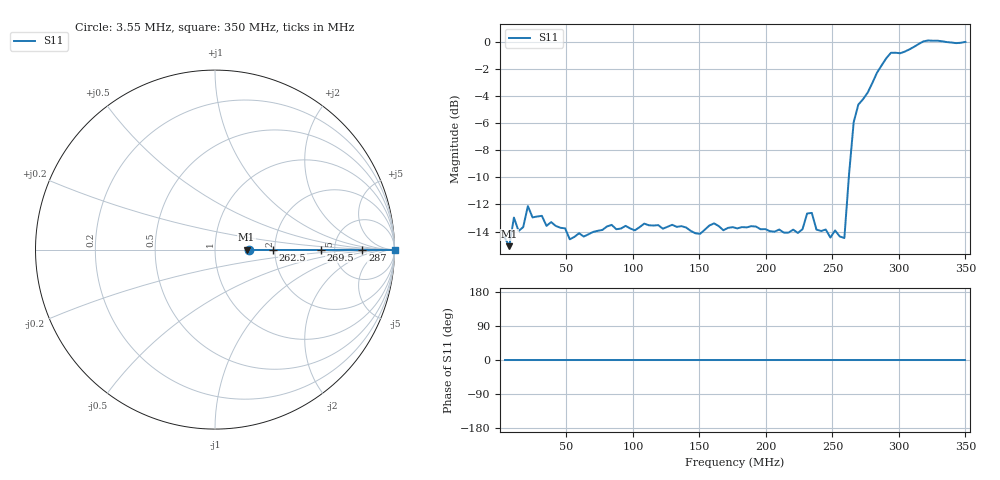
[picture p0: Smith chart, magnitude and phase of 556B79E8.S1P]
!File created by NanoVNA
# Hz S RI R 50
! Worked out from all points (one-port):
!   100 points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, 3.55 MHz to 350 MHz, reference 50 ohm
!   lowest |S11| = -15.1 dB at 7.049 MHz (marker M1), VSWR 1.43, Z = 71.4 + j0 ohm
!   |S11| at or under -10 dB: start of sweep to 262.3 MHz
!   S11 on the Smith chart (normalised r, x): 3.55 MHz: 1.47, +0.00; 262.5 MHz: 1.96, +0.00; 269.5 MHz: 3.86, +0.00; 287 MHz: 10, +0; 350 MHz: open
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3549500  0.1899 0
7049000  0.1761 0
1.05485e7  0.2247 0
1.4048e7  0.2004 0
1.75475e7  0.2073 0
2.1047e7  0.2478 0
3.5045e7  0.2094 0
4.9043e7  0.205 0
5.25425e7  0.1867 0
9.1037e7  0.2047 0
1.365305e8  0.2089 0
1.505285e8  0.1956 0
1.785245e8  0.2049 0
2.205185e8  0.2028 0
2.275175e8  0.2034 0
2.31017e8  0.2327 0
2.345165e8  0.2338 0
2.38016e8  0.2028 0
2.59013e8  0.1888 0
2.625125e8  0.3243 0
2.66012e8  0.5066 0
2.695115e8  0.5884 0
2.765105e8  0.6511 0
2.87009e8  0.8216 0
2.94008e8  0.9146 0
3.08006e8  0.9424 0
3.22004e8  1.016 0
3.5e8  1.004 0
